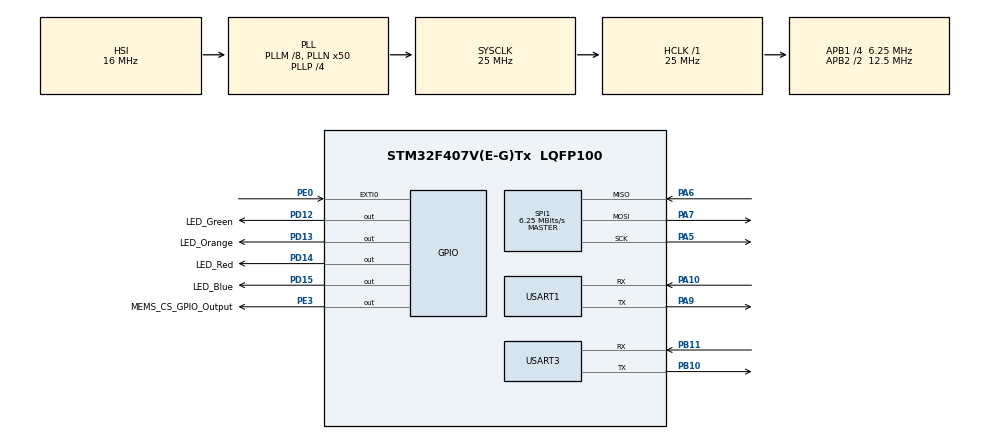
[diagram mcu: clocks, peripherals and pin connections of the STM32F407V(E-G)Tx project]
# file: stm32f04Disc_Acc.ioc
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Mcu.Family=STM32F4
Mcu.Name=STM32F407V(E-G)Tx
Mcu.Package=LQFP100
NVIC.EXTI0_IRQn=true\:0\:0\:false\:false\:true\:true\:true\:true
NVIC.PriorityGroup=NVIC_PRIORITYGROUP_0
PA10.Mode=Asynchronous
PA10.Signal=USART1_RX
PA5.Mode=Full_Duplex_Master
PA5.Signal=SPI1_SCK
PA6.Mode=Full_Duplex_Master
PA6.Signal=SPI1_MISO
PA7.Mode=Full_Duplex_Master
PA7.Signal=SPI1_MOSI
PA9.Mode=Asynchronous
PA9.Signal=USART1_TX
PB10.Mode=Asynchronous
PB10.Signal=USART3_TX
PB11.Mode=Asynchronous
PB11.Signal=USART3_RX
PD12.GPIO_Label=LED_Green
PD12.Signal=GPIO_Output
PD13.GPIO_Label=LED_Orange
PD13.Signal=GPIO_Output
PD14.GPIO_Label=LED_Red
PD14.Signal=GPIO_Output
PD15.GPIO_Label=LED_Blue
PD15.Signal=GPIO_Output
PE0.Signal=GPXTI0
PE3.GPIO_Label=MEMS_CS_GPIO_Output
PE3.Signal=GPIO_Output
ProjectManager.HeapSize=0x200
ProjectManager.StackSize=0x400
ProjectManager.TargetToolchain=STM32CubeIDE
RCC.48MHZClocksFreq_Value=14285714.285714285
RCC.AHBFreq_Value=25000000
RCC.APB1CLKDivider=RCC_HCLK_DIV4
RCC.APB1Freq_Value=6250000
RCC.APB1TimFreq_Value=12500000
RCC.APB2CLKDivider=RCC_HCLK_DIV2
RCC.APB2Freq_Value=12500000
RCC.APB2TimFreq_Value=25000000
RCC.CortexFreq_Value=25000000
RCC.HCLKFreq_Value=25000000
RCC.HSE_VALUE=8000000
RCC.HSI_VALUE=16000000
RCC.LSE_VALUE=32768
RCC.PLLM=8
RCC.PLLN=50
RCC.PLLP=RCC_PLLP_DIV4
RCC.PLLQ=7
RCC.SYSCLKFreq_VALUE=25000000
RCC.SYSCLKSource=RCC_SYSCLKSOURCE_PLLCLK
RCC.VCOOutputFreq_Value=100000000
SPI1.CalculateBaudRate=6.25 MBits/s
SPI1.Direction=SPI_DIRECTION_2LINES
SPI1.Mode=SPI_MODE_MASTER
SPI1.VirtualType=VM_MASTER
USART1.VirtualMode=VM_ASYNC
USART3.VirtualMode=VM_ASYNC
board=STM32F407G-DISC1

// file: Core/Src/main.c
/* USER CODE BEGIN Header */
/**
  ******************************************************************************
  * @file           : main.c
  * @brief          : Main program body
  ******************************************************************************
  * @attention
  *
  * Copyright (c) 2023 STMicroelectronics.
  * All rights reserved.
  *
  * This software is licensed under terms that can be found in the LICENSE file
  * in the root directory of this software component.
  * If no LICENSE file comes with this software, it is provided AS-IS.
  *
  ******************************************************************************
  */
/* USER CODE END Header */
#include "main.h"

/* USER CODE BEGIN Includes */
#include "LIS3DSH.h"
#include <stdio.h>
#include <math.h>
/* USER CODE END Includes */

/* USER CODE BEGIN PD */
uint8_t LEDS[3][3] = {
	{GPIO_PIN_SET,  GPIO_PIN_RESET,GPIO_PIN_RESET},
	{GPIO_PIN_RESET,GPIO_PIN_SET,  GPIO_PIN_RESET},
	{GPIO_PIN_RESET,GPIO_PIN_RESET,GPIO_PIN_SET}};
int balance(int ind);

float accX = 0.0;
float accY = 0.0;
float accZ = 0.0;

float accRoll = 0.0;
float accPitch = 0.0;

float rollCal = 0;
float pitchCal = 0;

LIS3DSH_DataScaled acc;

/* USER CODE END PD */

SPI_HandleTypeDef hspi1;

UART_HandleTypeDef huart1;
UART_HandleTypeDef huart3;

void EulerAngleCalibration(int N);
void SystemClock_Config(void);
static void MX_GPIO_Init(void);
static void MX_SPI1_Init(void);
static void MX_USART1_UART_Init(void);
static void MX_USART3_UART_Init(void);

int main(void)
{
  /* USER CODE BEGIN 1 */
	const uint8_t UART_BUF_MAX = 30;
	uint8_t buf[UART_BUF_MAX];
	HAL_StatusTypeDef ret;
	LIS3DSH_InitTypeDef accConfigDef;
	GPIO_PinState state; // Define a enum struct which contain boolean states
	enum DIRS {FRONT = 0, BACK, STOP};

  /* USER CODE END 1 */

  /* MCU Configuration--------------------------------------------------------*/

  /* Reset of all peripherals, Initializes the Flash interface and the Systick. */
  HAL_Init();

  /* Configure the system clock */
  SystemClock_Config();

  /* Initialize all configured peripherals */
  MX_GPIO_Init();
  MX_SPI1_Init();
  MX_USART1_UART_Init();
  MX_USART3_UART_Init();
  /* USER CODE BEGIN 2 */
  accConfigDef.dataRate = LIS3DSH_DATARATE_3_125; /* 3.125 Hz Normal Mode */
  accConfigDef.fullScale = LIS3DSH_FULLSCALE_16;   /* 16 g  */
  accConfigDef.enableAxes = LIS3DSH_XYZ_ENABLE;
  accConfigDef.antiAliasingBW = LIS3DSH_FILTER_BW_50;  /* 50 Hz  */
  accConfigDef.interruptEnable = false;
  LIS3DSH_Init(&hspi1, &accConfigDef);

  EulerAngleCalibration(100);

  /* USER CODE END 2 */
//  LIS3DSH_X_calibrate(-1000.0, 980.0);
//  LIS3DSH_Y_calibrate(-1020.0, 1040.0);
//  LIS3DSH_Z_calibrate(-920.0, 1040.0);
  /* Infinite loop */
  /* USER CODE BEGIN WHILE */
  //PD_14 -Red, PD_15 Blue  PD_12 green
  while (1)
  {
    /* USER CODE END WHILE */

    /* USER CODE BEGIN 3 */
    if(LIS3DSH_PollDRDY(1000)){
    	acc = LIS3DSH_GetDataScaled();
    	//HAL_GPIO_TogglePin(GPIOD, GPIO_PIN_13);

    	accX = acc.x;
    	accY = acc.y;
    	accZ = acc.z;

    	// Acceleration vector angle
    	accRoll = atan2(accZ, accY) * 180.0 / M_PI - rollCal;
    	accPitch = -atan2(accZ, accX) * 180.0 / M_PI - pitchCal;

    	if(acc.x > 0.1f) {//move up/back - red
    		balance(0);
    	}else if(acc.x < -0.1f) {//move down/front - green
    		balance(1);
		}else {//no move - blue
			balance(2);
		}
    	// ret = HAL_UART_Transmit(&huart3, buf, strlen((char*)buf), HAL_MAX_DELAY);
    	// if(ret != HAL_OK) {
    	// 	strcpy((char*)buf, "Error Tx:%d\r\n");}
    }
    state = HAL_GPIO_ReadPin(GPIOA, GPIO_PIN_0); // read state of push button and save it in "state" variable
	// if state is high, run another Euler angle calibration
	if(state) {
		EulerAngleCalibration(100);
	}
  }
  /* USER CODE END 3 */
}

void EulerAngleCalibration(int N)
{
	// Display message
	printf("Calibrating accelerator with %d points. Do not move!\r\n", N);

	int counter = 0;
	// Take N readings for each coordinate and add to itself
	for(int i=0;i<N;i++) {
	    if(LIS3DSH_PollDRDY(1000)){
	    	// collect accelerator data
	    	acc = LIS3DSH_GetDataScaled();
	    	accX = acc.x;
	    	accY = acc.y;
	    	accZ = acc.z;
	    	// Acceleration vector angle
	    	rollCal += atan2(accZ, accY) * 180.0 / M_PI;
	    	pitchCal += -atan2(accZ, accX) * 180.0 / M_PI;
	    }
	    // Flash LEDs to reflect euler angles calibration
	    counter = i % 3;
		HAL_GPIO_WritePin(GPIOD, GPIO_PIN_14, LEDS[counter][0]);//red
		HAL_GPIO_WritePin(GPIOD, GPIO_PIN_12, LEDS[counter][1]);//green
		HAL_GPIO_WritePin(GPIOD, GPIO_PIN_15, LEDS[counter][2]);//blue
	}

	// Find average offset value
	rollCal /= N;
	pitchCal /= N;

	// Display message
	printf("Calibration complete\r\n");
	printf("\tRoll Cal offset: %.2f\r\n", rollCal);
	printf("\tPitch Cal offset: %.2f\r\n", pitchCal);
}

void SystemClock_Config(void)
{
  RCC_OscInitTypeDef RCC_OscInitStruct = {0};
  RCC_ClkInitTypeDef RCC_ClkInitStruct = {0};

  /** Configure the main internal regulator output voltage
  */
  __HAL_RCC_PWR_CLK_ENABLE();
  __HAL_PWR_VOLTAGESCALING_CONFIG(PWR_REGULATOR_VOLTAGE_SCALE1);

  /** Initializes the RCC Oscillators according to the specified parameters
  * in the RCC_OscInitTypeDef structure.
  */
  RCC_OscInitStruct.OscillatorType = RCC_OSCILLATORTYPE_HSI;
  RCC_OscInitStruct.HSIState = RCC_HSI_ON;
  RCC_OscInitStruct.HSICalibrationValue = RCC_HSICALIBRATION_DEFAULT;
  RCC_OscInitStruct.PLL.PLLState = RCC_PLL_ON;
  RCC_OscInitStruct.PLL.PLLSource = RCC_PLLSOURCE_HSI;
  RCC_OscInitStruct.PLL.PLLM = 8;
  RCC_OscInitStruct.PLL.PLLN = 50;
  RCC_OscInitStruct.PLL.PLLP = RCC_PLLP_DIV4;
  RCC_OscInitStruct.PLL.PLLQ = 7;
  if (HAL_RCC_OscConfig(&RCC_OscInitStruct) != HAL_OK)
  {
    Error_Handler();
  }

  /** Initializes the CPU, AHB and APB buses clocks
  */
  RCC_ClkInitStruct.ClockType = RCC_CLOCKTYPE_HCLK|RCC_CLOCKTYPE_SYSCLK
                              |RCC_CLOCKTYPE_PCLK1|RCC_CLOCKTYPE_PCLK2;
  RCC_ClkInitStruct.SYSCLKSource = RCC_SYSCLKSOURCE_PLLCLK;
  RCC_ClkInitStruct.AHBCLKDivider = RCC_SYSCLK_DIV1;
  RCC_ClkInitStruct.APB1CLKDivider = RCC_HCLK_DIV4;
  RCC_ClkInitStruct.APB2CLKDivider = RCC_HCLK_DIV2;

  if (HAL_RCC_ClockConfig(&RCC_ClkInitStruct, FLASH_LATENCY_0) != HAL_OK)
  {
    Error_Handler();
  }
}

static void MX_SPI1_Init(void)
{

  /* SPI1 parameter configuration*/
  hspi1.Instance = SPI1;
  hspi1.Init.Mode = SPI_MODE_MASTER;
  hspi1.Init.Direction = SPI_DIRECTION_2LINES;
  hspi1.Init.DataSize = SPI_DATASIZE_8BIT;
  hspi1.Init.CLKPolarity = SPI_POLARITY_LOW;
  hspi1.Init.CLKPhase = SPI_PHASE_1EDGE;
  hspi1.Init.NSS = SPI_NSS_SOFT;
  hspi1.Init.BaudRatePrescaler = SPI_BAUDRATEPRESCALER_2;
  hspi1.Init.FirstBit = SPI_FIRSTBIT_MSB;
 hspi1.Init.TIMode = SPI_TIMODE_DISABLE;
  hspi1.Init.CRCCalculation = SPI_CRCCALCULATION_DISABLE;
  hspi1.Init.CRCPolynomial = 10;
  if (HAL_SPI_Init(&hspi1) != HAL_OK)
  {
    Error_Handler();
  }

}

static void MX_USART1_UART_Init(void)
{

  huart1.Instance = USART1;
  huart1.Init.BaudRate = 115200;
  huart1.Init.WordLength = UART_WORDLENGTH_8B;
  huart1.Init.StopBits = UART_STOPBITS_1;
  huart1.Init.Parity = UART_PARITY_NONE;
  huart1.Init.Mode = UART_MODE_TX_RX;
  huart1.Init.HwFlowCtl = UART_HWCONTROL_NONE;
  huart1.Init.OverSampling = UART_OVERSAMPLING_16;
  if (HAL_UART_Init(&huart1) != HAL_OK)
  {
    Error_Handler();
  }

}

static void MX_USART3_UART_Init(void)
{

  huart3.Instance = USART3;
  huart3.Init.BaudRate = 115200;
  huart3.Init.WordLength = UART_WORDLENGTH_8B;
  huart3.Init.StopBits = UART_STOPBITS_1;
  huart3.Init.Parity = UART_PARITY_NONE;
  huart3.Init.Mode = UART_MODE_TX_RX;
  huart3.Init.HwFlowCtl = UART_HWCONTROL_NONE;
  huart3.Init.OverSampling = UART_OVERSAMPLING_16;
  if (HAL_UART_Init(&huart3) != HAL_OK)
  {
    Error_Handler();
  }

}

static void MX_GPIO_Init(void)
{
  GPIO_InitTypeDef GPIO_InitStruct = {0};

  /* GPIO Ports Clock Enable */
  __HAL_RCC_GPIOE_CLK_ENABLE();
  __HAL_RCC_GPIOA_CLK_ENABLE();
  __HAL_RCC_GPIOB_CLK_ENABLE();
  __HAL_RCC_GPIOD_CLK_ENABLE();

  /*Configure GPIO pin Output Level */
  HAL_GPIO_WritePin(MEMS_CS_GPIO_Output_GPIO_Port, MEMS_CS_GPIO_Output_Pin, GPIO_PIN_RESET);

  /*Configure GPIO pin Output Level */
  HAL_GPIO_WritePin(GPIOD, LED_Green_Pin|LED_Orange_Pin|LED_Red_Pin|LED_Blue_Pin, GPIO_PIN_RESET);

  /*Configure GPIO pin : MEMS_CS_GPIO_Output_Pin */
  GPIO_InitStruct.Pin = MEMS_CS_GPIO_Output_Pin;
  GPIO_InitStruct.Mode = GPIO_MODE_OUTPUT_PP;
  GPIO_InitStruct.Pull = GPIO_NOPULL;
  GPIO_InitStruct.Speed = GPIO_SPEED_FREQ_LOW;
  HAL_GPIO_Init(MEMS_CS_GPIO_Output_GPIO_Port, &GPIO_InitStruct);

  /*Configure GPIO pins : LED_Green_Pin LED_Orange_Pin LED_Red_Pin LED_Blue_Pin */
  GPIO_InitStruct.Pin = LED_Green_Pin|LED_Orange_Pin|LED_Red_Pin|LED_Blue_Pin;
  GPIO_InitStruct.Mode = GPIO_MODE_OUTPUT_PP;
  GPIO_InitStruct.Pull = GPIO_NOPULL;
  GPIO_InitStruct.Speed = GPIO_SPEED_FREQ_LOW;
  HAL_GPIO_Init(GPIOD, &GPIO_InitStruct);

  /*Configure GPIO pin : PE0 */
  GPIO_InitStruct.Pin = GPIO_PIN_0;
  GPIO_InitStruct.Mode = GPIO_MODE_IT_RISING;
  GPIO_InitStruct.Pull = GPIO_NOPULL;
  HAL_GPIO_Init(GPIOE, &GPIO_InitStruct);

  /* EXTI interrupt init*/
  HAL_NVIC_SetPriority(EXTI0_IRQn, 0, 0);
  HAL_NVIC_EnableIRQ(EXTI0_IRQn);

}

/* USER CODE BEGIN 4 */

int balance(int ind) {
	//sprintf((char*)buf, "#AccXYZ:%5.2f,%5.2f,%5.2f\r\n", acc.x, acc.y, acc.z);
	HAL_StatusTypeDef ret;
	if(ind < 0 || ind >3) return -1;
	if(ind == 0) {//move front
		printf("F\n");
		ret = HAL_UART_Transmit(&huart3, "F", 1, HAL_MAX_DELAY);
		if(ret != HAL_OK) 	printf("Error Tx:%d\r\n", ret);
	}else if(ind == 1) {//move back
		printf("B\n");
		ret = HAL_UART_Transmit(&huart3, "B", 1, HAL_MAX_DELAY);
		if(ret != HAL_OK) {
		   printf("Error Tx:%d\r\n", ret);}
	}else if(ind == 2) {//stop
		printf("A\n");
		ret = HAL_UART_Transmit(&huart3, "A", 1, HAL_MAX_DELAY);
		if(ret != HAL_OK) {
		   printf("Error Tx:%d\r\n", ret);}
	}
	HAL_GPIO_WritePin(GPIOD, GPIO_PIN_14, LEDS[ind][0]);//red
	HAL_GPIO_WritePin(GPIOD, GPIO_PIN_12, LEDS[ind][1]);//green
	HAL_GPIO_WritePin(GPIOD, GPIO_PIN_15, LEDS[ind][2]);//blue
	return 0;
}

int _write(int file, char *ptr, int len){
	int DataIdx;
	for(DataIdx=0;DataIdx<len;DataIdx++) {
		ITM_SendChar(*ptr++);
	}
	return len;
}
/* USER CODE END 4 */

void Error_Handler(void)
{
  __disable_irq();
  while (1)
  {
  }
}
